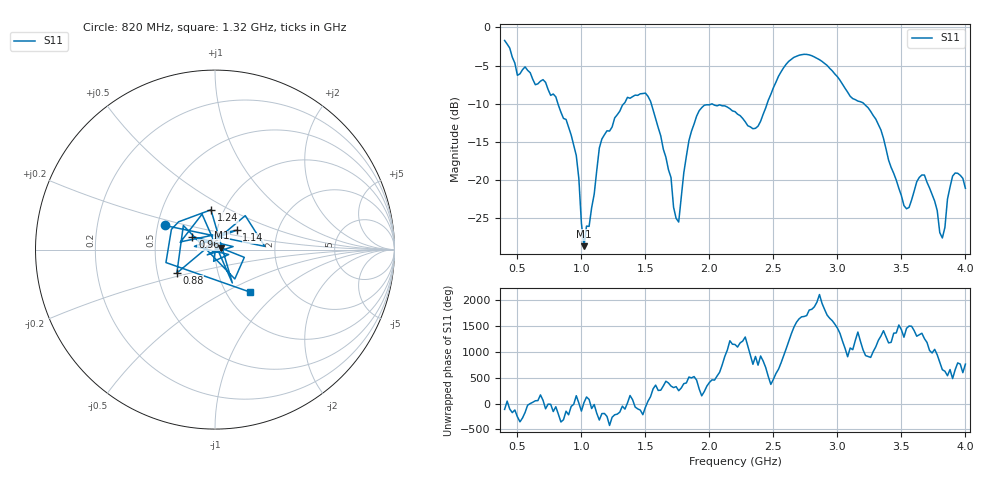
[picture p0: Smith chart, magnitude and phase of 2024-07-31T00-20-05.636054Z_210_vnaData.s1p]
!Created with skrf (http://scikit-rf.org).
# Hz S RI R 50.0
!freq ReS11 ImS11
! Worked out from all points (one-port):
!   181 points, 400 MHz to 4 GHz, reference 50 ohm
!   lowest |S11| = -28.7 dB at 1.02 GHz (marker M1), VSWR 1.08, Z = 53.7 + j1.1 ohm
!   |S11| at or under -10 dB: 816.7 MHz to 1.332 GHz (514.8 MHz wide, 47.9 % of centre); 1.546 GHz to 2.451 GHz (905.2 MHz wide, 45.3 % of centre); 3.207 GHz to end of sweep
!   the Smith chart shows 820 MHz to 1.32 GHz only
!   S11 on the Smith chart (normalised r, x): 820 MHz: 0.55, +0.16; 880 MHz: 0.63, -0.18; 960 MHz: 0.77, +0.11; 1.14 GHz: 1.24, +0.28; 1.24 GHz: 0.87, +0.40; 1.32 GHz: 1.29, -0.68
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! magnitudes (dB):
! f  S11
! 400 MHz  -1.7
! 500 MHz  -6.3
! 700 MHz  -6.8
! 820 MHz  -10.2
! 860 MHz  -11.9
! 880 MHz  -12.1
! 960 MHz  -16.8
! 1.02 GHz  -28.7
! 1.1 GHz  -21.8
! 1.14 GHz  -15.8
! 1.24 GHz  -13.0
! 1.3 GHz  -11.0
! 1.32 GHz  -10.2
! 1.54 GHz  -9.7
! 1.76 GHz  -25.5
! 1.84 GHz  -14.8
! 1.92 GHz  -10.9
! 2.2 GHz  -11.0
! 2.38 GHz  -12.9
! 2.66 GHz  -3.9
! 2.88 GHz  -4.5
! 3.1 GHz  -9.0
! 3.3 GHz  -12.0
! 3.56 GHz  -23.6
! 3.68 GHz  -19.3
! 3.82 GHz  -27.6
! 3.9 GHz  -19.5
! 4 GHz  -21.1
